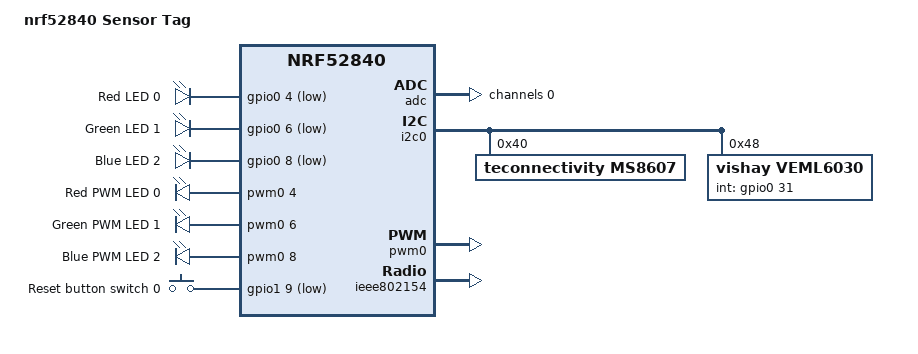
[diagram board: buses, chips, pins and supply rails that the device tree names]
/*
 * Copyright (c) 2021 Home Smart Mesh
 *
 * SPDX-License-Identifier: Apache-2.0
 */

/dts-v1/;
#include <nordic/nrf52840_qiaa.dtsi>
#include "nrf52840_sensortag-pinctrl.dtsi"

/ {
	model = "nrf52840 Sensor Tag";
	compatible = "homesmartmesh,nrf52840_sensortag";

	chosen {
		zephyr,console = &uart0;
		zephyr,shell-uart = &uart0;
		zephyr,uart-mcumgr = &uart0;
		zephyr,bt-mon-uart = &uart0;
		zephyr,bt-c2h-uart = &uart0;
		zephyr,sram = &sram0;
		zephyr,flash = &flash0;
		zephyr,code-partition = &slot0_partition;
		zephyr,ieee802154 = &ieee802154;
	};

	leds {
		compatible = "gpio-leds";
		led0: led_0 {
			gpios = <&gpio0 4 GPIO_ACTIVE_LOW>;
			label = "Red LED 0";
		};
		led1: led_1 {
			gpios = <&gpio0 6 GPIO_ACTIVE_LOW>;
			label = "Green LED 1";
		};
		led2: led_2 {
			gpios = <&gpio0 8 GPIO_ACTIVE_LOW>;
			label = "Blue LED 2";
		};
	};

	pwmleds {
		compatible = "pwm-leds";
		pwm_led0: pwm_led_0 {
			pwms = <&pwm0 4 PWM_MSEC(20) PWM_POLARITY_INVERTED>;
			label = "Red PWM LED 0";
		};
		pwm_led1: pwm_led_1 {
			pwms = <&pwm0 6 PWM_MSEC(20) PWM_POLARITY_INVERTED>;
			label = "Green PWM LED 1";
		};
		pwm_led2: pwm_led_2 {
			pwms = <&pwm0 8 PWM_MSEC(20) PWM_POLARITY_INVERTED>;
			label = "Blue PWM LED 2";
		};
	};

	buttons {
		compatible = "gpio-keys";
		button0: button_0 {
			gpios = <&gpio1 9 (GPIO_PULL_UP | GPIO_ACTIVE_LOW)>;
			label = "Reset button switch 0";
		};
	};

	/* These aliases are provided for compatibility with samples */
	aliases {
		led0 = &led0;
		led1 = &led1;
		led2 = &led2;
		pwm-led0 = &pwm_led0;
		pwm-led1 = &pwm_led1;
		pwm-led2 = &pwm_led2;
		sw0 = &button0;
		watchdog0 = &wdt0;
	};
};

&adc {
   #address-cells = <1>;
   #size-cells = <0>;

   channel@0 {
    	reg = <0>;
    	zephyr,gain = "ADC_GAIN_1_6";
    	zephyr,reference = "ADC_REF_INTERNAL";
    	zephyr,acquisition-time = <ADC_ACQ_TIME(ADC_ACQ_TIME_MICROSECONDS, 40)>;
    	zephyr,input-positive = <NRF_SAADC_VDD>;
		zephyr,resolution = <12>;
   };
};

&gpiote {
	status = "okay";
};

&gpio0 {
	status = "okay";
};

&gpio1 {
	status = "okay";
};

&uart0 {
	current-speed = <115200>;
	status = "disabled";
	pinctrl-0 = <&uart0_default>;
	pinctrl-1 = <&uart0_sleep>;
	pinctrl-names = "default", "sleep";
};

&i2c0 {
	compatible = "nordic,nrf-twi";
	status = "okay";
	pinctrl-0 = <&i2c0_default>;
	pinctrl-1 = <&i2c0_sleep>;
	pinctrl-names = "default", "sleep";

	ms8607@40 /*hum@40,press@76*/{
		compatible = "teconnectivity,ms8607";
		reg = <0x40>;
	};
	veml6030@48 {
		compatible = "vishay,veml6030";
		reg = <0x48>;
		int-gpios = <&gpio0 31 0>;
	};
};

&pwm0 {
	status = "okay";
	pinctrl-0 = <&pwm0_default>;
	pinctrl-1 = <&pwm0_sleep>;
	pinctrl-names = "default", "sleep";
};

&ieee802154 {
	status = "okay";
};

&flash0 {

	partitions {
		compatible = "fixed-partitions";
		#address-cells = <1>;
		#size-cells = <1>;

		boot_partition: partition@0 {
			label = "mcuboot";
			reg = <0x000000000 0x0000C000>;
		};
		slot0_partition: partition@c000 {
			label = "image-0";
			reg = <0x0000C000 0x00067000>;
		};
		slot1_partition: partition@73000 {
			label = "image-1";
			reg = <0x00073000 0x00067000>;
		};
		scratch_partition: partition@da000 {
			label = "image-scratch";
			reg = <0x000da000 0x0001e000>;
		};

		/*
		 * The flash starting at 0x000f8000 and ending at
		 * 0x000fffff is reserved for use by the application.
		 */

		/*
		 * Storage partition will be used by FCB/LittleFS/NVS
		 * if enabled.
		 */
		storage_partition: partition@f8000 {
			label = "storage";
			reg = <0x000f8000 0x00008000>;
		};
	};
};
